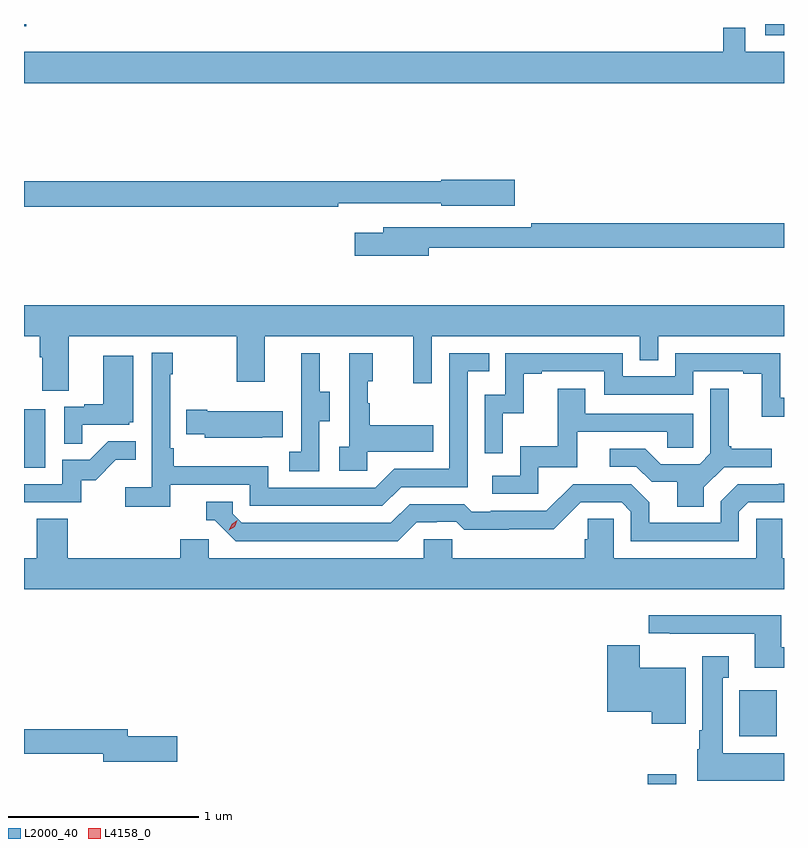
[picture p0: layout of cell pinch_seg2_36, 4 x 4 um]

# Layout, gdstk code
import gdstk
lib = gdstk.Library(unit=1e-6, precision=1e-09)
def R(c, l, rs):  # rectangles x0, y0, x1, y1
    for r in rs: c.add(gdstk.rectangle(r[:2], r[2:], *l))
def P(c, l, *ps):  # polygons
    for p in ps: c.add(gdstk.Polygon(p, *l))
L2000_40 = (2000, 40)
L4158_0 = (4158, 0)

pinch_seg2_36 = lib.new_cell('pinch_seg2_36')
R(pinch_seg2_36, L2000_40, [(1134.131,646.611,1134.283,646.663), (1134.614,646.862,1134.811,647.104), (1130.849,648.276,1130.962,648.583), (1134.75,650.553,1134.849,650.611), (1130.849,650.6,1130.86,650.611)])
P(pinch_seg2_36, L2000_40, [(1134.849,650.464),(1134.645,650.464),(1134.645,650.591),(1134.529,650.591),(1134.529,650.464),(1130.849,650.464),(1130.849,650.3),(1134.849,650.3)],
  [(1132.502,649.668),(1133.046,649.668),(1133.046,649.655),(1133.431,649.655),(1133.431,649.79),(1133.046,649.79),(1133.046,649.784),(1130.849,649.784),(1130.849,649.648),(1132.502,649.648)],
  [(1132.978,649.434),(1134.849,649.434),(1134.849,649.562),(1133.518,649.562),(1133.518,649.542),(1132.739,649.542),(1132.739,649.513),(1132.59,649.513),(1132.59,649.391),(1132.978,649.391)],
  [(1131.085,648.968),(1131.97,648.968),(1131.97,648.729),(1132.117,648.729),(1132.117,648.968),(1132.898,648.968),(1132.898,648.72),(1132.995,648.72),(1132.995,648.968),(1134.09,648.968),(1134.09,648.841),(1134.186,648.841),(1134.186,648.968),(1134.849,648.968),(1134.849,649.132),(1130.849,649.132),(1130.849,648.968),(1130.933,648.968),(1130.933,648.856),(1130.945,648.856),(1130.945,648.682),(1131.085,648.682)],
  [(1131.62,648.186),(1132.038,648.186),(1132.038,648.075),(1132.735,648.075),(1132.834,648.174),(1133.184,648.174),(1133.184,648.783),(1133.297,648.783),(1133.297,648.879),(1133.088,648.879),(1133.088,648.27),(1132.797,648.27),(1132.698,648.171),(1132.134,648.171),(1132.134,648.283),(1131.638,648.283),(1131.638,648.379),(1131.618,648.379),(1131.618,648.767),(1131.631,648.767),(1131.631,648.88),(1131.522,648.88),(1131.522,648.172),(1131.381,648.172),(1131.381,648.07),(1131.62,648.07)],
  [(1133.37,648.563),(1133.48,648.563),(1133.48,648.771),(1133.575,648.771),(1133.575,648.783),(1133.904,648.783),(1133.904,648.66),(1134.372,648.66),(1134.372,648.783),(1134.635,648.783),(1134.635,648.771),(1134.731,648.771),(1134.731,648.545),(1134.849,648.545),(1134.849,648.643),(1134.828,648.643),(1134.828,648.879),(1134.276,648.879),(1134.276,648.756),(1134,648.756),(1134,648.879),(1133.382,648.879),(1133.382,648.66),(1133.274,648.66),(1133.274,648.351),(1133.37,648.351)],
  [(1132.656,648.359),(1133.003,648.359),(1133.003,648.499),(1132.669,648.499),(1132.669,648.614),(1132.659,648.614),(1132.659,648.732),(1132.684,648.732),(1132.684,648.877),(1132.56,648.877),(1132.56,648.386),(1132.509,648.386),(1132.509,648.261),(1132.656,648.261)],
  [(1132.404,648.52),(1132.459,648.52),(1132.459,648.675),(1132.405,648.675),(1132.405,648.877),(1132.307,648.877),(1132.307,648.663),(1132.308,648.663),(1132.308,648.359),(1132.245,648.359),(1132.245,648.256),(1132.404,648.256)],
  [(1131.155,648.501),(1131.402,648.501),(1131.402,648.516),(1131.424,648.516),(1131.424,648.865),(1131.266,648.865),(1131.266,648.61),(1131.167,648.61),(1131.167,648.597),(1131.06,648.597),(1131.06,648.403),(1131.155,648.403)],
  [(1134.427,648.172),(1134.534,648.279),(1134.784,648.279),(1134.784,648.376),(1134.571,648.376),(1134.571,648.388),(1134.559,648.388),(1134.559,648.691),(1134.462,648.691),(1134.462,648.351),(1134.405,648.294),(1134.199,648.294),(1134.118,648.375),(1133.931,648.375),(1133.931,648.282),(1134.072,648.282),(1134.152,648.202),(1134.287,648.202),(1134.287,648.07),(1134.427,648.07)],
  [(1133.556,648.279),(1133.761,648.279),(1133.761,648.465),(1134.235,648.465),(1134.235,648.381),(1134.372,648.381),(1134.372,648.561),(1133.803,648.561),(1133.803,648.691),(1133.659,648.691),(1133.659,648.388),(1133.46,648.388),(1133.46,648.234),(1133.313,648.234),(1133.313,648.138),(1133.556,648.138)],
  [(1132.103,648.437),(1132.211,648.437),(1132.211,648.574),(1131.814,648.574),(1131.814,648.582),(1131.703,648.582),(1131.703,648.452),(1131.801,648.452),(1131.801,648.434),(1132.103,648.434)],
  [(1131.15,648.21),(1131.226,648.21),(1131.333,648.317),(1131.437,648.317),(1131.437,648.416),(1131.293,648.416),(1131.195,648.318),(1131.051,648.318),(1131.051,648.189),(1130.849,648.189),(1130.849,648.093),(1131.15,648.093)],
  [(1132.915,647.988),(1133.022,647.988),(1133.022,647.991),(1133.125,647.991),(1133.167,647.949),(1133.4,647.949),(1133.4,647.951),(1133.636,647.951),(1133.778,648.093),(1133.994,648.093),(1134.042,648.045),(1134.042,647.889),(1134.612,647.889),(1134.612,648.045),(1134.66,648.093),(1134.849,648.093),(1134.849,648.191),(1134.822,648.191),(1134.822,648.189),(1134.606,648.189),(1134.516,648.099),(1134.516,647.985),(1134.139,647.985),(1134.139,648.095),(1134.045,648.189),(1133.739,648.189),(1133.598,648.048),(1133.305,648.048),(1133.305,648.045),(1133.206,648.045),(1133.167,648.084),(1132.878,648.084),(1132.779,647.985),(1131.996,647.985),(1131.948,648.033),(1131.948,648.096),(1131.809,648.096),(1131.809,648),(1131.852,648),(1131.963,647.889),(1132.816,647.889)],
  [(1134.849,647.8),(1134.841,647.8),(1134.841,648.008),(1134.702,648.008),(1134.702,647.8),(1133.952,647.8),(1133.952,648.008),(1133.815,648.008),(1133.815,647.898),(1133.801,647.898),(1133.801,647.8),(1133.103,647.8),(1133.103,647.898),(1132.953,647.898),(1132.953,647.8),(1131.822,647.8),(1131.822,647.898),(1131.671,647.898),(1131.671,647.8),(1131.08,647.8),(1131.08,648.008),(1130.915,648.008),(1130.915,647.8),(1130.849,647.8),(1130.849,647.636),(1134.849,647.636)],
  [(1134.849,647.332),(1134.835,647.332),(1134.835,647.5),(1134.138,647.5),(1134.138,647.405),(1134.247,647.405),(1134.247,647.403),(1134.695,647.403),(1134.695,647.222),(1134.849,647.222)],
  [(1134.331,647.224),(1134.091,647.224),(1134.091,647.34),(1133.918,647.34),(1133.918,646.991),(1134.152,646.991),(1134.152,646.928),(1134.331,646.928)],
  [(1134.849,646.774),(1134.526,646.774),(1134.526,647.171),(1134.559,647.171),(1134.559,647.284),(1134.419,647.284),(1134.419,646.894),(1134.404,646.894),(1134.404,646.794),(1134.392,646.794),(1134.392,646.628),(1134.849,646.628)],
  [(1131.655,646.862),(1131.394,646.862),(1131.394,646.898),(1130.849,646.898),(1130.849,646.77),(1131.266,646.77),(1131.266,646.727),(1131.655,646.727)])
P(pinch_seg2_36, L4158_0, [(1131.926,647.946),(1131.926,647.946),(1131.942,647.979),(1131.972,647.999),(1131.972,647.999),(1131.972,647.998),(1131.957,647.966),(1131.927,647.946)])

lib.write_gds('pinch_seg2_36.gds')
